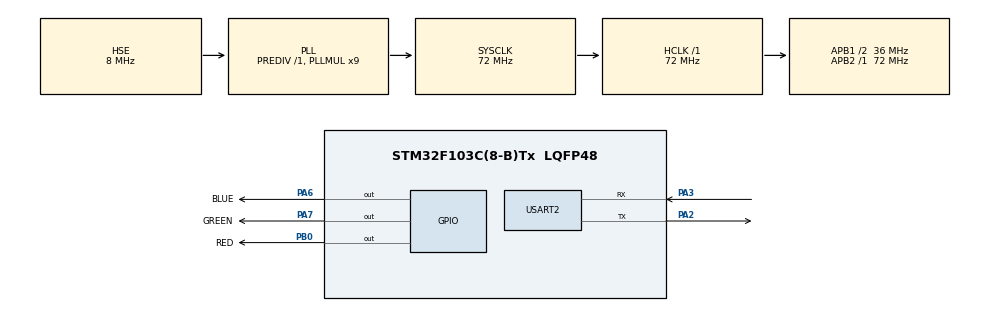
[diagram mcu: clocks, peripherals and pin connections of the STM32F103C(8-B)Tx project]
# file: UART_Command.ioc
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Dma.Request0=USART2_RX
Dma.Request1=USART2_TX
Dma.USART2_RX.0.Direction=DMA_PERIPH_TO_MEMORY
Dma.USART2_RX.0.Instance=DMA1_Channel6
Dma.USART2_RX.0.MemDataAlignment=DMA_MDATAALIGN_BYTE
Dma.USART2_RX.0.MemInc=DMA_MINC_ENABLE
Dma.USART2_RX.0.Mode=DMA_NORMAL
Dma.USART2_RX.0.PeriphDataAlignment=DMA_PDATAALIGN_BYTE
Dma.USART2_RX.0.PeriphInc=DMA_PINC_DISABLE
Dma.USART2_RX.0.Priority=DMA_PRIORITY_LOW
Dma.USART2_TX.1.Direction=DMA_MEMORY_TO_PERIPH
Dma.USART2_TX.1.Instance=DMA1_Channel7
Dma.USART2_TX.1.MemDataAlignment=DMA_MDATAALIGN_BYTE
Dma.USART2_TX.1.MemInc=DMA_MINC_ENABLE
Dma.USART2_TX.1.Mode=DMA_NORMAL
Dma.USART2_TX.1.PeriphDataAlignment=DMA_PDATAALIGN_BYTE
Dma.USART2_TX.1.PeriphInc=DMA_PINC_DISABLE
Dma.USART2_TX.1.Priority=DMA_PRIORITY_LOW
Mcu.Family=STM32F1
Mcu.Name=STM32F103C(8-B)Tx
Mcu.Package=LQFP48
NVIC.DMA1_Channel6_IRQn=true\:0\:0\:false\:false\:true\:false\:true\:true
NVIC.DMA1_Channel7_IRQn=true\:0\:0\:false\:false\:true\:false\:true\:true
NVIC.PriorityGroup=NVIC_PRIORITYGROUP_4
NVIC.USART2_IRQn=true\:0\:0\:false\:false\:true\:true\:true\:true
PA13.Mode=Serial_Wire
PA13.Signal=SYS_JTMS-SWDIO
PA14.Mode=Serial_Wire
PA14.Signal=SYS_JTCK-SWCLK
PA2.Mode=Asynchronous
PA2.Signal=USART2_TX
PA3.Mode=Asynchronous
PA3.Signal=USART2_RX
PA6.GPIO_Label=BLUE
PA6.Signal=GPIO_Output
PA7.GPIO_Label=GREEN
PA7.Signal=GPIO_Output
PB0.GPIO_Label=RED
PB0.Signal=GPIO_Output
PD0-OSC_IN.Mode=HSE-External-Oscillator
PD0-OSC_IN.Signal=RCC_OSC_IN
PD1-OSC_OUT.Mode=HSE-External-Oscillator
PD1-OSC_OUT.Signal=RCC_OSC_OUT
ProjectManager.HeapSize=0x200
ProjectManager.StackSize=0x400
ProjectManager.TargetToolchain=STM32CubeIDE
RCC.AHBFreq_Value=72000000
RCC.APB1CLKDivider=RCC_HCLK_DIV2
RCC.APB1Freq_Value=36000000
RCC.APB1TimFreq_Value=72000000
RCC.APB2Freq_Value=72000000
RCC.APB2TimFreq_Value=72000000
RCC.HCLKFreq_Value=72000000
RCC.PLLMUL=RCC_PLL_MUL9
RCC.PLLSourceVirtual=RCC_PLLSOURCE_HSE
RCC.SYSCLKFreq_VALUE=72000000
RCC.SYSCLKSource=RCC_SYSCLKSOURCE_PLLCLK
RCC.USBFreq_Value=72000000
USART2.VirtualMode=VM_ASYNC
board=custom

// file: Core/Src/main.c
/* USER CODE BEGIN Header */
/**
  ******************************************************************************
  * @file           : main.c
  * @brief          : Main program body
  ******************************************************************************
  * @attention
  *
  * Copyright (c) 2025 STMicroelectronics.
  * All rights reserved.
  *
  * This software is licensed under terms that can be found in the LICENSE file
  * in the root directory of this software component.
  * If no LICENSE file comes with this software, it is provided AS-IS.
  *
  ******************************************************************************
  */
/* USER CODE END Header */
#include "main.h"

/* USER CODE BEGIN Includes */
#include "command.h"
/* USER CODE END Includes */

/* USER CODE BEGIN PD */
uint8_t readBuffer[10];
/* USER CODE END PD */

UART_HandleTypeDef huart2;
DMA_HandleTypeDef hdma_usart2_rx;
DMA_HandleTypeDef hdma_usart2_tx;

void SystemClock_Config(void);
static void MX_GPIO_Init(void);
static void MX_DMA_Init(void);
static void MX_USART2_UART_Init(void);

/* USER CODE BEGIN 0 */

void HAL_UARTEx_RxEventCallback(UART_HandleTypeDef *huart, uint16_t Size){
	if (huart == &huart2){
		Command_Write(readBuffer, Size);
		HAL_UARTEx_ReceiveToIdle_DMA(&huart2, readBuffer, sizeof(readBuffer));
	}
}

/* USER CODE END 0 */

int main(void)
{

  /* MCU Configuration--------------------------------------------------------*/

  /* Reset of all peripherals, Initializes the Flash interface and the Systick. */
  HAL_Init();

  /* Configure the system clock */
  SystemClock_Config();

  /* Initialize all configured peripherals */
  MX_GPIO_Init();
  MX_DMA_Init();
  MX_USART2_UART_Init();
  /* USER CODE BEGIN 2 */
  HAL_UARTEx_ReceiveToIdle_DMA(&huart2, readBuffer, sizeof(readBuffer));
  uint8_t command[128];
  int commandLength = 0;
  /* USER CODE END 2 */

  /* Infinite loop */
  /* USER CODE BEGIN WHILE */
  while (1)
  {
	  commandLength = Command_GetCommand(command);
	  if (commandLength != 0){
		  HAL_UART_Transmit_DMA(&huart2, command, commandLength);
		  for (int i = 2; i < commandLength - 1; i += 2){
			 GPIO_PinState state = GPIO_PIN_SET;
			 if (command[i + 1] == 0x00){
				 state = GPIO_PIN_RESET;
			 }
			 if (command[i] == 0x01){
				 HAL_GPIO_WritePin(RED_GPIO_Port, RED_Pin, state);
			 }else if (command[i] == 0x02){
				 HAL_GPIO_WritePin(GREEN_GPIO_Port, GREEN_Pin, state);
			 }else if (command[i] == 0x03){
				 HAL_GPIO_WritePin(BLUE_GPIO_Port, BLUE_Pin, state);
			 }
		  }
	  }

    /* USER CODE END WHILE */

  }
}

void SystemClock_Config(void)
{
  RCC_OscInitTypeDef RCC_OscInitStruct = {0};
  RCC_ClkInitTypeDef RCC_ClkInitStruct = {0};

  /** Initializes the RCC Oscillators according to the specified parameters
  * in the RCC_OscInitTypeDef structure.
  */
  RCC_OscInitStruct.OscillatorType = RCC_OSCILLATORTYPE_HSE;
  RCC_OscInitStruct.HSEState = RCC_HSE_ON;
  RCC_OscInitStruct.HSEPredivValue = RCC_HSE_PREDIV_DIV1;
  RCC_OscInitStruct.HSIState = RCC_HSI_ON;
  RCC_OscInitStruct.PLL.PLLState = RCC_PLL_ON;
  RCC_OscInitStruct.PLL.PLLSource = RCC_PLLSOURCE_HSE;
  RCC_OscInitStruct.PLL.PLLMUL = RCC_PLL_MUL9;
  if (HAL_RCC_OscConfig(&RCC_OscInitStruct) != HAL_OK)
  {
    Error_Handler();
  }

  /** Initializes the CPU, AHB and APB buses clocks
  */
  RCC_ClkInitStruct.ClockType = RCC_CLOCKTYPE_HCLK|RCC_CLOCKTYPE_SYSCLK
                              |RCC_CLOCKTYPE_PCLK1|RCC_CLOCKTYPE_PCLK2;
  RCC_ClkInitStruct.SYSCLKSource = RCC_SYSCLKSOURCE_PLLCLK;
  RCC_ClkInitStruct.AHBCLKDivider = RCC_SYSCLK_DIV1;
  RCC_ClkInitStruct.APB1CLKDivider = RCC_HCLK_DIV2;
  RCC_ClkInitStruct.APB2CLKDivider = RCC_HCLK_DIV1;

  if (HAL_RCC_ClockConfig(&RCC_ClkInitStruct, FLASH_LATENCY_2) != HAL_OK)
  {
    Error_Handler();
  }
}

static void MX_USART2_UART_Init(void)
{

  huart2.Instance = USART2;
  huart2.Init.BaudRate = 115200;
  huart2.Init.WordLength = UART_WORDLENGTH_8B;
  huart2.Init.StopBits = UART_STOPBITS_1;
  huart2.Init.Parity = UART_PARITY_NONE;
  huart2.Init.Mode = UART_MODE_TX_RX;
  huart2.Init.HwFlowCtl = UART_HWCONTROL_NONE;
  huart2.Init.OverSampling = UART_OVERSAMPLING_16;
  if (HAL_UART_Init(&huart2) != HAL_OK)
  {
    Error_Handler();
  }

}

static void MX_DMA_Init(void)
{

  /* DMA controller clock enable */
  __HAL_RCC_DMA1_CLK_ENABLE();

  /* DMA interrupt init */
  /* DMA1_Channel6_IRQn interrupt configuration */
  HAL_NVIC_SetPriority(DMA1_Channel6_IRQn, 0, 0);
  HAL_NVIC_EnableIRQ(DMA1_Channel6_IRQn);
  /* DMA1_Channel7_IRQn interrupt configuration */
  HAL_NVIC_SetPriority(DMA1_Channel7_IRQn, 0, 0);
  HAL_NVIC_EnableIRQ(DMA1_Channel7_IRQn);

}

static void MX_GPIO_Init(void)
{
  GPIO_InitTypeDef GPIO_InitStruct = {0};

  /* GPIO Ports Clock Enable */
  __HAL_RCC_GPIOD_CLK_ENABLE();
  __HAL_RCC_GPIOA_CLK_ENABLE();
  __HAL_RCC_GPIOB_CLK_ENABLE();

  /*Configure GPIO pin Output Level */
  HAL_GPIO_WritePin(GPIOA, BLUE_Pin|GREEN_Pin, GPIO_PIN_RESET);

  /*Configure GPIO pin Output Level */
  HAL_GPIO_WritePin(RED_GPIO_Port, RED_Pin, GPIO_PIN_RESET);

  /*Configure GPIO pins : BLUE_Pin GREEN_Pin */
  GPIO_InitStruct.Pin = BLUE_Pin|GREEN_Pin;
  GPIO_InitStruct.Mode = GPIO_MODE_OUTPUT_PP;
  GPIO_InitStruct.Pull = GPIO_NOPULL;
  GPIO_InitStruct.Speed = GPIO_SPEED_FREQ_LOW;
  HAL_GPIO_Init(GPIOA, &GPIO_InitStruct);

  /*Configure GPIO pin : RED_Pin */
  GPIO_InitStruct.Pin = RED_Pin;
  GPIO_InitStruct.Mode = GPIO_MODE_OUTPUT_PP;
  GPIO_InitStruct.Pull = GPIO_NOPULL;
  GPIO_InitStruct.Speed = GPIO_SPEED_FREQ_LOW;
  HAL_GPIO_Init(RED_GPIO_Port, &GPIO_InitStruct);

}

void Error_Handler(void)
{
  __disable_irq();
  while (1)
  {
  }
}
